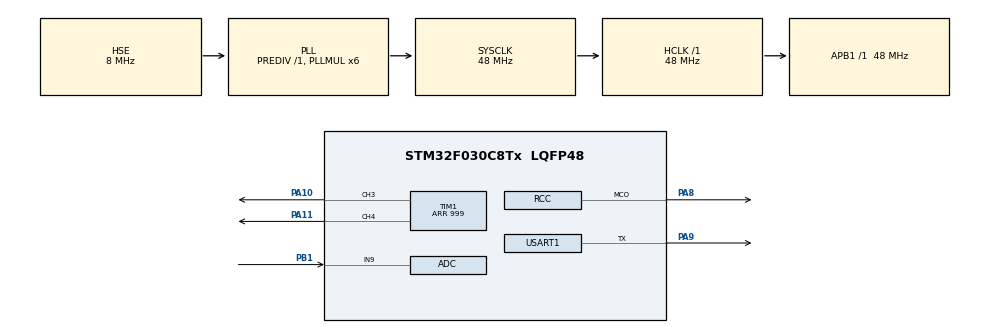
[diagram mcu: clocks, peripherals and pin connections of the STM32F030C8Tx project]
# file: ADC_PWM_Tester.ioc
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ADC.ContinuousConvMode=ENABLE
ADC.SamplingTime=ADC_SAMPLETIME_55CYCLES_5
Dma.Request0=USART1_TX
Dma.USART1_TX.0.Direction=DMA_MEMORY_TO_PERIPH
Dma.USART1_TX.0.Instance=DMA1_Channel2
Dma.USART1_TX.0.MemDataAlignment=DMA_MDATAALIGN_BYTE
Dma.USART1_TX.0.MemInc=DMA_MINC_ENABLE
Dma.USART1_TX.0.Mode=DMA_NORMAL
Dma.USART1_TX.0.PeriphDataAlignment=DMA_PDATAALIGN_BYTE
Dma.USART1_TX.0.PeriphInc=DMA_PINC_DISABLE
Dma.USART1_TX.0.Priority=DMA_PRIORITY_LOW
Mcu.Family=STM32F0
Mcu.Name=STM32F030C8Tx
Mcu.Package=LQFP48
NVIC.DMA1_Channel2_3_IRQn=true\:0\:0\:false\:false\:true\:false\:true\:true
NVIC.TIM3_IRQn=true\:0\:0\:false\:false\:true\:true\:true\:true
NVIC.TIM6_IRQn=true\:0\:0\:false\:false\:true\:true\:true\:true
NVIC.USART1_IRQn=true\:0\:0\:false\:false\:true\:true\:true\:true
PA10.GPIO_Speed=GPIO_SPEED_FREQ_HIGH
PA10.Signal=S_TIM1_CH3
PA11.Signal=S_TIM1_CH4
PA13.Mode=Serial_Wire
PA13.Signal=SYS_SWDIO
PA14.Mode=Serial_Wire
PA14.Signal=SYS_SWCLK
PA8.Mode=Clock-out
PA8.Signal=RCC_MCO
PA9.Mode=Half_duplex(single_wire_mode)
PA9.Signal=USART1_TX
PB1.Mode=IN9
PB1.Signal=ADC_IN9
PF0-OSC_IN.Mode=HSE-External-Oscillator
PF0-OSC_IN.Signal=RCC_OSC_IN
PF1-OSC_OUT.Mode=HSE-External-Oscillator
PF1-OSC_OUT.Signal=RCC_OSC_OUT
ProjectManager.HeapSize=0x200
ProjectManager.StackSize=0x400
ProjectManager.TargetToolchain=Makefile
RCC.AHBFreq_Value=48000000
RCC.APB1Freq_Value=48000000
RCC.APB1TimFreq_Value=48000000
RCC.HCLKFreq_Value=48000000
RCC.PLLMUL=RCC_PLL_MUL6
RCC.PLLSourceVirtual=RCC_PLLSOURCE_HSE
RCC.RCC_MCOSource=RCC_MCO1SOURCE_HSE
RCC.SYSCLKFreq_VALUE=48000000
RCC.SYSCLKSource=RCC_SYSCLKSOURCE_PLLCLK
SH.S_TIM1_CH3.0=TIM1_CH3,PWM Generation3 CH3
SH.S_TIM1_CH4.0=TIM1_CH4,PWM Generation4 CH4
TIM1.AutoReloadPreload=TIM_AUTORELOAD_PRELOAD_ENABLE
TIM1.Channel-PWM\ Generation3\ CH3=TIM_CHANNEL_3
TIM1.Channel-PWM\ Generation4\ CH4=TIM_CHANNEL_4
TIM1.OC3Preload_PWM=ENABLE
TIM1.OC4Preload_PWM=ENABLE
TIM1.OCFastMode_PWM-PWM\ Generation3\ CH3=TIM_OCFAST_ENABLE
TIM1.Period=999
TIM1.Pulse-PWM\ Generation3\ CH3=500
TIM1.Pulse-PWM\ Generation4\ CH4=500
TIM3.Period=999
TIM6.AutoReloadPreload=TIM_AUTORELOAD_PRELOAD_ENABLE
TIM6.Period=499
TIM6.Prescaler=47999
USART1.BaudRate=250000
USART1.Mode=MODE_TX
USART1.VirtualMode-Half_duplex(single_wire_mode)=VM_ASYNC
VP_TIM1_VS_ClockSourceINT.Mode=Internal
VP_TIM3_VS_ClockSourceINT.Mode=Internal
VP_TIM6_VS_ClockSourceINT.Mode=Enable_Timer
board=custom

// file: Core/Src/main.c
/* USER CODE BEGIN Header */
/**
 ******************************************************************************
 * @file           : main.c
 * @brief          : Main program body
 ******************************************************************************
 * @attention
 *
 * Copyright (c) 2024 STMicroelectronics.
 * All rights reserved.
 *
 * This software is licensed under terms that can be found in the LICENSE file
 * in the root directory of this software component.
 * If no LICENSE file comes with this software, it is provided AS-IS.
 *
 ******************************************************************************
 */
/* USER CODE END Header */
#include "main.h"
#include "adc.h"
#include "dma.h"
#include "gpio.h"
#include "tim.h"
#include "usart.h"

/* USER CODE BEGIN Includes */

#include <stdio.h>

/* USER CODE END Includes */

/* USER CODE BEGIN PV */

uint32_t adcValue, permillage;
uint8_t text[40];
int8_t addition = 1;
uint16_t compare = 0;
uint8_t prepared = 0;

/* USER CODE END PV */

void SystemClock_Config(void);
/* USER CODE BEGIN PFP */

void HAL_TIM_PeriodElapsedCallback(TIM_HandleTypeDef *htim) {
  if (prepared == 0) {
    return;
  }

  if (htim->Instance == TIM3) {
    __HAL_TIM_SET_COMPARE(&htim1, TIM_CHANNEL_4, permillage);

    compare += addition;
    __HAL_TIM_SET_COMPARE(&htim1, TIM_CHANNEL_3, compare);

    if (compare == 0 || compare == 999) {
      addition = -addition;
    }

    return;
  }

  if (htim->Instance == TIM6) {
    uint32_t length = sprintf((char *)text, "ADC Value: %u\nPermillage: %u\n",
                              (uint16_t)adcValue, (uint16_t)permillage);
    HAL_UART_Transmit_DMA(&huart1, text, length);

    return;
  }
}

/* USER CODE END PFP */

int main(void) {

  /* MCU Configuration--------------------------------------------------------*/

  /* Reset of all peripherals, Initializes the Flash interface and the Systick.
   */
  HAL_Init();

  /* Configure the system clock */
  SystemClock_Config();

  /* Initialize all configured peripherals */
  MX_GPIO_Init();
  MX_DMA_Init();
  MX_ADC_Init();
  MX_TIM1_Init();
  MX_USART1_UART_Init();
  MX_TIM6_Init();
  MX_TIM3_Init();
  /* USER CODE BEGIN 2 */

  HAL_ADC_Start(&hadc);

  HAL_TIM_Base_Start_IT(&htim3);
  HAL_TIM_Base_Start_IT(&htim6);

  HAL_TIM_PWM_Start(&htim1, TIM_CHANNEL_3);
  HAL_TIM_PWM_Start(&htim1, TIM_CHANNEL_4);

  HAL_ADC_PollForConversion(&hadc, 100);
  prepared = 1;

  /* USER CODE END 2 */

  /* Infinite loop */
  /* USER CODE BEGIN WHILE */
  while (1) {
    adcValue = HAL_ADC_GetValue(&hadc);

    // mapping: 0~4095 -> 0~1000
    permillage = adcValue * 1000 / 4095;

    HAL_ADC_PollForConversion(&hadc, 100);

    /* USER CODE END WHILE */

  }
}

void SystemClock_Config(void) {
  RCC_OscInitTypeDef RCC_OscInitStruct = {0};
  RCC_ClkInitTypeDef RCC_ClkInitStruct = {0};
  RCC_PeriphCLKInitTypeDef PeriphClkInit = {0};

  /** Initializes the RCC Oscillators according to the specified parameters
   * in the RCC_OscInitTypeDef structure.
   */
  RCC_OscInitStruct.OscillatorType =
      RCC_OSCILLATORTYPE_HSI14 | RCC_OSCILLATORTYPE_HSE;
  RCC_OscInitStruct.HSEState = RCC_HSE_ON;
  RCC_OscInitStruct.HSI14State = RCC_HSI14_ON;
  RCC_OscInitStruct.HSI14CalibrationValue = 16;
  RCC_OscInitStruct.PLL.PLLState = RCC_PLL_ON;
  RCC_OscInitStruct.PLL.PLLSource = RCC_PLLSOURCE_HSE;
  RCC_OscInitStruct.PLL.PLLMUL = RCC_PLL_MUL6;
  RCC_OscInitStruct.PLL.PREDIV = RCC_PREDIV_DIV1;
  if (HAL_RCC_OscConfig(&RCC_OscInitStruct) != HAL_OK) {
    Error_Handler();
  }

  /** Initializes the CPU, AHB and APB buses clocks
   */
  RCC_ClkInitStruct.ClockType =
      RCC_CLOCKTYPE_HCLK | RCC_CLOCKTYPE_SYSCLK | RCC_CLOCKTYPE_PCLK1;
  RCC_ClkInitStruct.SYSCLKSource = RCC_SYSCLKSOURCE_PLLCLK;
  RCC_ClkInitStruct.AHBCLKDivider = RCC_SYSCLK_DIV1;
  RCC_ClkInitStruct.APB1CLKDivider = RCC_HCLK_DIV1;

  if (HAL_RCC_ClockConfig(&RCC_ClkInitStruct, FLASH_LATENCY_1) != HAL_OK) {
    Error_Handler();
  }
  PeriphClkInit.PeriphClockSelection = RCC_PERIPHCLK_USART1;
  PeriphClkInit.Usart1ClockSelection = RCC_USART1CLKSOURCE_PCLK1;
  if (HAL_RCCEx_PeriphCLKConfig(&PeriphClkInit) != HAL_OK) {
    Error_Handler();
  }
  HAL_RCC_MCOConfig(RCC_MCO, RCC_MCO1SOURCE_HSE, RCC_MCODIV_1);
}

void Error_Handler(void) {
  __disable_irq();
  while (1) {
  }
}

#ifdef USE_FULL_ASSERT
/**
 * @brief  Reports the name of the source file and the source line number
 *         where the assert_param error has occurred.
 * @param  file: pointer to the source file name
 * @param  line: assert_param error line source number
 * @retval None
 */
void assert_failed(uint8_t *file, uint32_t line) {
  /* USER CODE BEGIN 6 */
  /* User can add his own implementation to report the file name and line
     number, ex: printf("Wrong parameters value: file %s on line %d\r\n", file,
     line) */
  /* USER CODE END 6 */
}
#endif /* USE_FULL_ASSERT */
